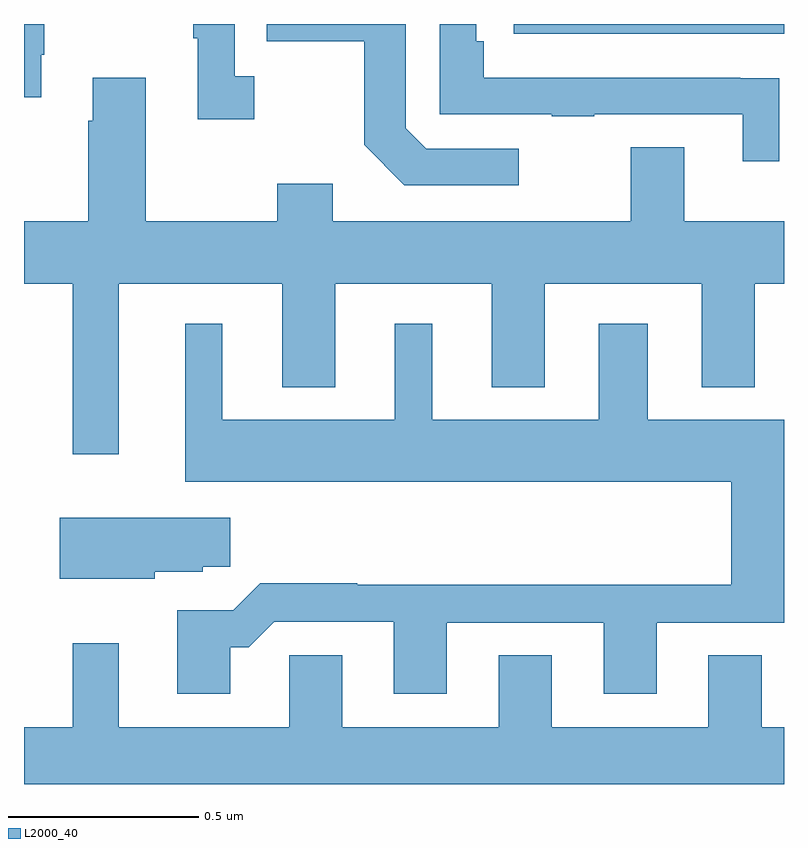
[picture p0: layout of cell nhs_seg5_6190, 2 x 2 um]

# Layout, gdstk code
import gdstk
lib = gdstk.Library(unit=1e-6, precision=1e-09)
def R(c, l, rs):  # rectangles x0, y0, x1, y1
    for r in rs: c.add(gdstk.rectangle(r[:2], r[2:], *l))
def P(c, l, *ps):  # polygons
    for p in ps: c.add(gdstk.Polygon(p, *l))
L2000_40 = (2000, 40)

nhs_seg5_6190 = lib.new_cell('nhs_seg5_6190')
R(nhs_seg5_6190, L2000_40, [(194.289,834.774,195,834.799)])
P(nhs_seg5_6190, L2000_40, [(194.302,834.471),(194.058,834.471),(194.004,834.525),(194.004,834.799),(193.639,834.799),(193.639,834.754),(193.896,834.754),(193.896,834.481),(194.001,834.375),(194.302,834.375)],
  [(193.606,834.662),(193.554,834.662),(193.554,834.799),(193.446,834.799),(193.446,834.761),(193.457,834.761),(193.457,834.549),(193.606,834.549)],
  [(194.987,834.656),(194.885,834.656),(194.885,834.657),(194.21,834.657),(194.21,834.754),(194.19,834.754),(194.19,834.799),(194.094,834.799),(194.094,834.561),(194.389,834.561),(194.389,834.556),(194.501,834.556),(194.501,834.561),(194.891,834.561),(194.891,834.438),(194.987,834.438)],
  [(193.045,834.718),(193.053,834.718),(193.053,834.799),(193,834.799),(193,834.606),(193.045,834.606)],
  [(193.249,834.116),(193.679,834.116),(193.679,833.843),(193.819,833.843),(193.819,834.116),(194.231,834.116),(194.231,833.843),(194.371,833.843),(194.371,834.116),(194.783,834.116),(194.783,833.843),(194.923,833.843),(194.923,834.116),(195,834.116),(195,834.28),(194.737,834.28),(194.737,834.475),(194.597,834.475),(194.597,834.28),(193.813,834.28),(193.813,834.379),(193.666,834.379),(193.666,834.28),(193.321,834.28),(193.321,834.658),(193.181,834.658),(193.181,834.545),(193.169,834.545),(193.169,834.28),(193,834.28),(193,834.116),(193.128,834.116),(193.128,833.667),(193.249,833.667)],
  [(193.543,833.159),(193.592,833.159),(193.659,833.226),(193.973,833.226),(193.973,833.037),(194.113,833.037),(194.113,833.223),(194.525,833.223),(194.525,833.037),(194.665,833.037),(194.665,833.223),(195,833.223),(195,833.758),(194.641,833.758),(194.641,834.01),(194.513,834.01),(194.513,833.758),(194.074,833.758),(194.074,834.01),(193.976,834.01),(193.976,833.758),(193.522,833.758),(193.522,834.01),(193.424,834.01),(193.424,833.594),(194.861,833.594),(194.861,833.324),(193.877,833.324),(193.877,833.327),(193.622,833.327),(193.551,833.256),(193.403,833.256),(193.403,833.037),(193.543,833.037)],
  [(193.344,833.357),(193.47,833.357),(193.47,833.371),(193.543,833.371),(193.543,833.5),(193.094,833.5),(193.094,833.339),(193.344,833.339)],
  [(195,832.948),(194.941,832.948),(194.941,833.138),(194.801,833.138),(194.801,832.948),(194.389,832.948),(194.389,833.138),(194.249,833.138),(194.249,832.948),(193.837,832.948),(193.837,833.138),(193.698,833.138),(193.698,832.948),(193.249,832.948),(193.249,833.17),(193.128,833.17),(193.128,832.948),(193,832.948),(193,832.799),(195,832.799)])

lib.write_gds('nhs_seg5_6190.gds')
